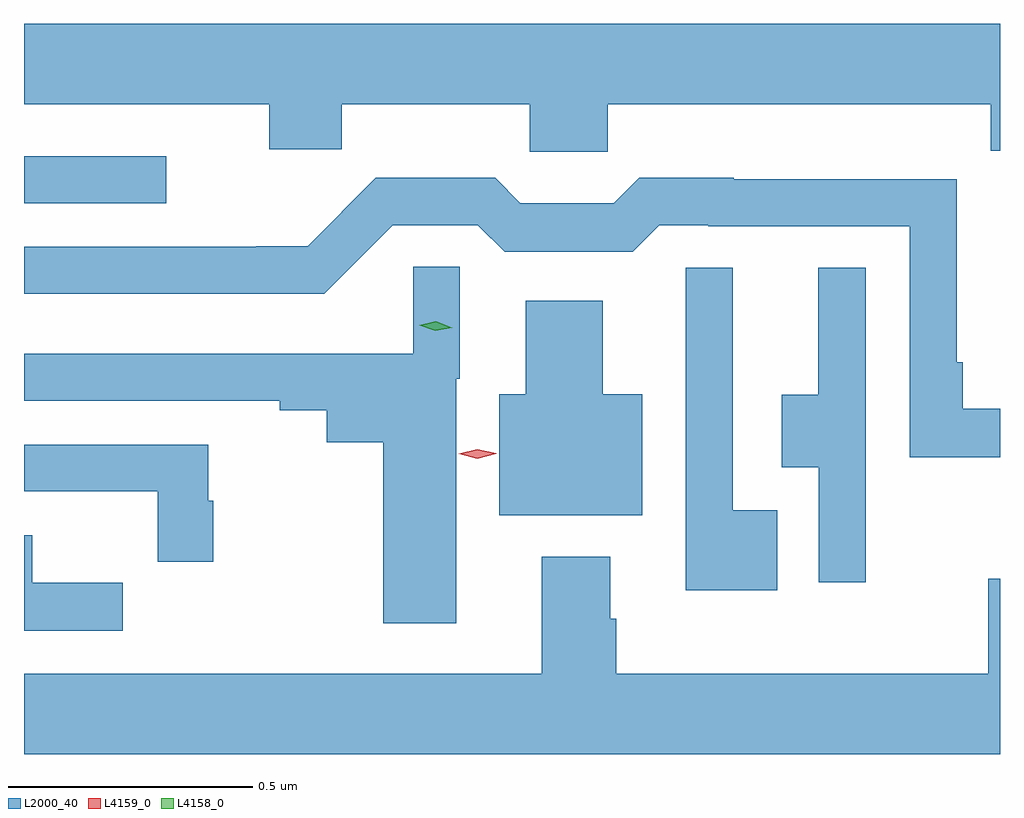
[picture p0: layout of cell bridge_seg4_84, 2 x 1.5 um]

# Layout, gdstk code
import gdstk
lib = gdstk.Library(unit=1e-6, precision=1e-09)
def R(c, l, rs):  # rectangles x0, y0, x1, y1
    for r in rs: c.add(gdstk.rectangle(r[:2], r[2:], *l))
def P(c, l, *ps):  # polygons
    for p in ps: c.add(gdstk.Polygon(p, *l))
L2000_40 = (2000, 40)
L4158_0 = (4158, 0)
L4159_0 = (4159, 0)

bridge_seg4_84 = lib.new_cell('bridge_seg4_84')
R(bridge_seg4_84, L2000_40, [(472.524,777.969,472.816,778.065)])
P(bridge_seg4_84, L2000_40, [(473.72,778.172),(474.505,778.172),(474.505,778.076),(474.524,778.076),(474.524,778.336),(472.524,778.336),(472.524,778.172),(473.027,778.172),(473.027,778.079),(473.175,778.079),(473.175,778.172),(473.56,778.172),(473.56,778.074),(473.72,778.074)],
  [(474.524,777.548),(474.448,777.548),(474.448,777.643),(474.435,777.643),(474.435,778.018),(473.978,778.018),(473.978,778.021),(473.785,778.021),(473.733,777.969),(473.541,777.969),(473.49,778.021),(473.245,778.021),(473.105,777.881),(473,777.881),(473,777.879),(472.524,777.879),(472.524,777.783),(473.139,777.783),(473.28,777.924),(473.454,777.924),(473.509,777.869),(473.771,777.869),(473.826,777.924),(473.926,777.924),(473.926,777.921),(474.339,777.921),(474.339,777.448),(474.524,777.448)],
  [(473.41,777.609),(473.417,777.609),(473.417,777.839),(473.322,777.839),(473.322,777.66),(472.524,777.66),(472.524,777.564),(473.048,777.564),(473.048,777.544),(473.144,777.544),(473.144,777.479),(473.26,777.479),(473.26,777.108),(473.41,777.108)],
  [(474.249,777.836),(474.152,777.836),(474.152,777.576),(474.077,777.576),(474.077,777.428),(474.153,777.428),(474.153,777.192),(474.249,777.192)],
  [(474.068,777.34),(473.976,777.34),(473.976,777.836),(473.88,777.836),(473.88,777.176),(474.068,777.176)],
  [(473.791,777.577),(473.71,777.577),(473.71,777.769),(473.552,777.769),(473.552,777.577),(473.498,777.577),(473.498,777.329),(473.791,777.329)],
  [(472.912,777.359),(472.902,777.359),(472.902,777.474),(472.524,777.474),(472.524,777.378),(472.798,777.378),(472.798,777.234),(472.912,777.234)],
  [(472.726,777.191),(472.541,777.191),(472.541,777.288),(472.524,777.288),(472.524,777.093),(472.726,777.093)],
  [(474.524,777.199),(474.5,777.199),(474.5,777.004),(473.738,777.004),(473.738,777.117),(473.725,777.117),(473.725,777.244),(473.585,777.244),(473.585,777.004),(472.524,777.004),(472.524,776.84),(474.524,776.84)])
P(bridge_seg4_84, L4158_0, [(473.367,777.707),(473.334,777.719),(473.334,777.719),(473.334,777.719),(473.368,777.727),(473.402,777.714),(473.402,777.714),(473.402,777.714)])
P(bridge_seg4_84, L4159_0, [(473.453,777.445),(473.415,777.455),(473.415,777.455),(473.415,777.455),(473.453,777.465),(473.492,777.456),(473.492,777.455),(473.492,777.455)])

lib.write_gds('bridge_seg4_84.gds')
